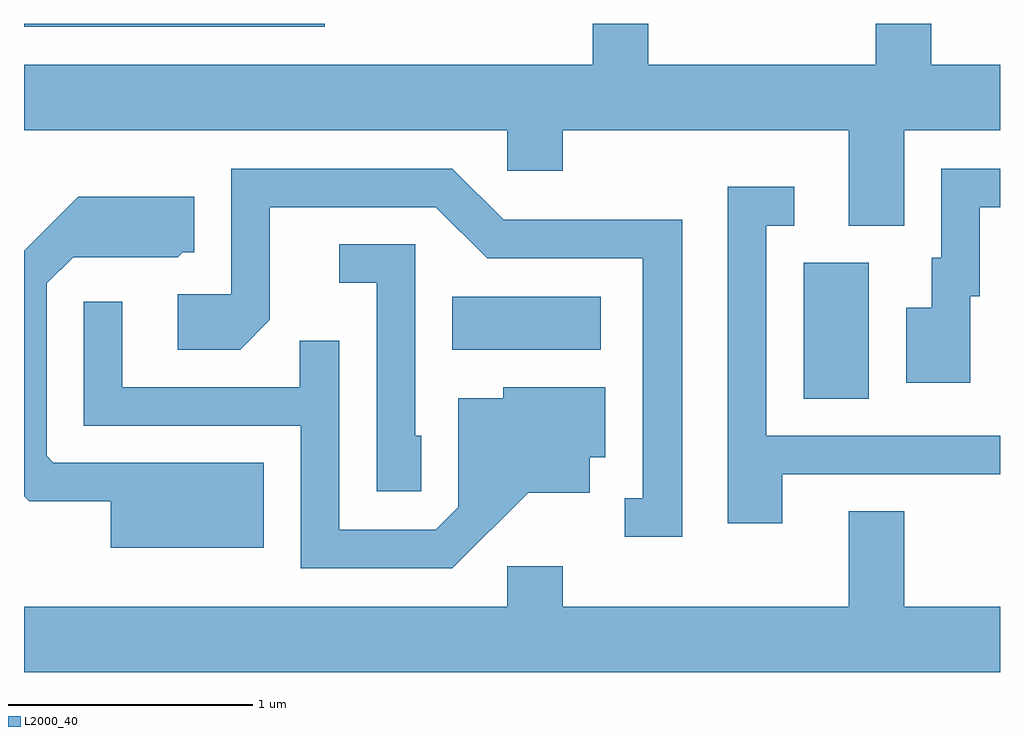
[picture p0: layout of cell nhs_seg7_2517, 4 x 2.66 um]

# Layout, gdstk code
import gdstk
lib = gdstk.Library(unit=1e-6, precision=1e-09)
def R(c, l, rs):  # rectangles x0, y0, x1, y1
    for r in rs: c.add(gdstk.rectangle(r[:2], r[2:], *l))
def P(c, l, *ps):  # polygons
    for p in ps: c.add(gdstk.Polygon(p, *l))
L2000_40 = (2000, 40)

nhs_seg7_2517 = lib.new_cell('nhs_seg7_2517')
R(nhs_seg7_2517, L2000_40, [(264.806,1768.716,265.074,1769.274), (263.366,1768.916,263.974,1769.134), (261.611,1770.241,262.844,1770.252)])
P(nhs_seg7_2517, L2000_40, [(265.219,1769.816),(265.611,1769.816),(265.611,1770.084),(265.329,1770.084),(265.329,1770.252),(265.101,1770.252),(265.101,1770.084),(264.169,1770.084),(264.169,1770.252),(263.941,1770.252),(263.941,1770.084),(261.611,1770.084),(261.611,1769.816),(263.591,1769.816),(263.591,1769.651),(263.819,1769.651),(263.819,1769.816),(264.991,1769.816),(264.991,1769.426),(265.219,1769.426)],
  [(265.489,1769.136),(265.529,1769.136),(265.529,1769.501),(265.611,1769.501),(265.611,1769.659),(265.371,1769.659),(265.371,1769.294),(265.331,1769.294),(265.331,1769.089),(265.226,1769.089),(265.226,1768.781),(265.489,1768.781)],
  [(264.309,1769.449),(263.577,1769.449),(263.367,1769.659),(262.461,1769.659),(262.461,1769.144),(262.241,1769.144),(262.241,1768.916),(262.497,1768.916),(262.619,1769.039),(262.619,1769.501),(263.299,1769.501),(263.509,1769.291),(264.146,1769.291),(264.146,1768.309),(264.073,1768.309),(264.073,1768.151),(264.309,1768.151)],
  [(264.719,1768.406),(265.611,1768.406),(265.611,1768.564),(264.654,1768.564),(264.654,1769.426),(264.768,1769.426),(264.768,1769.584),(264.496,1769.584),(264.496,1768.206),(264.719,1768.206)],
  [(262.594,1768.454),(261.731,1768.454),(261.704,1768.482),(261.704,1769.189),(261.812,1769.296),(262.242,1769.296),(262.262,1769.316),(262.309,1769.316),(262.309,1769.544),(261.834,1769.544),(261.611,1769.322),(261.611,1768.317),(261.632,1768.296),(261.966,1768.296),(261.966,1768.106),(262.594,1768.106)],
  [(263.239,1768.564),(263.214,1768.564),(263.214,1769.349),(262.903,1769.349),(262.903,1769.191),(263.056,1769.191),(263.056,1768.336),(263.239,1768.336)],
  [(263.677,1768.331),(263.929,1768.331),(263.929,1768.476),(263.994,1768.476),(263.994,1768.764),(263.576,1768.764),(263.576,1768.719),(263.391,1768.719),(263.391,1768.272),(263.299,1768.179),(262.904,1768.179),(262.904,1768.953),(262.741,1768.953),(262.741,1768.764),(262.014,1768.764),(262.014,1769.113),(261.856,1769.113),(261.856,1768.606),(262.746,1768.606),(262.746,1768.021),(263.367,1768.021)],
  [(265.611,1767.864),(265.219,1767.864),(265.219,1768.254),(264.991,1768.254),(264.991,1767.864),(263.819,1767.864),(263.819,1768.029),(263.591,1768.029),(263.591,1767.864),(261.611,1767.864),(261.611,1767.596),(265.611,1767.596)])

lib.write_gds('nhs_seg7_2517.gds')
